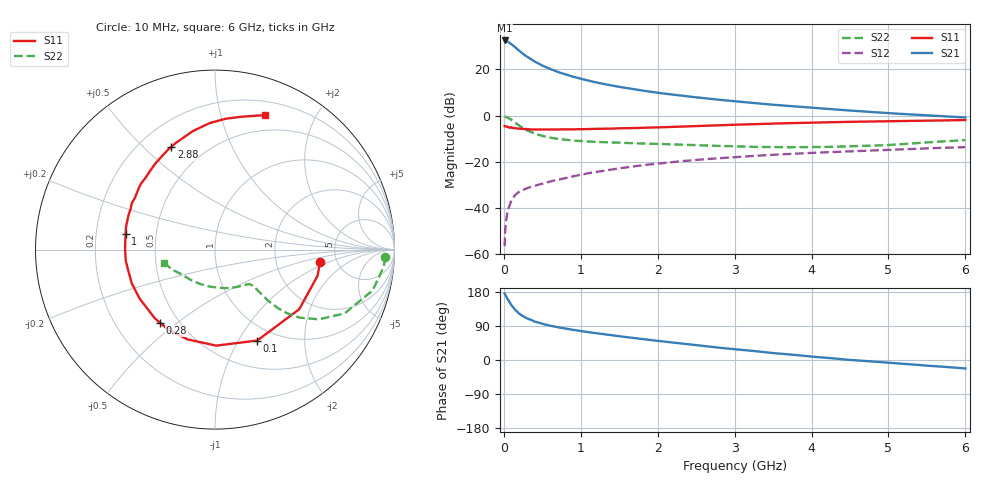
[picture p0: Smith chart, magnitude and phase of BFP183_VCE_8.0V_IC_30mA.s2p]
! Infineon Technologies  Discrete & RF Semiconductors
! BFP183
! VCE = 8.0 V,  IC =  30 mA
! Common Emitter S-Parameters:  Jan 2016
# GHz  S  MA  R  50
!  f  S11  S21  S12  S22
! GHz  MAG  ANG  MAG  ANG  MAG  ANG  MAG  ANG
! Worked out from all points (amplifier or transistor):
!   210 points, 10 MHz to 6 GHz, reference 50 ohm
!   highest |S21| = 32.5 dB at 10 MHz (marker M1)
!   |S21| within 3 dB of that: start of sweep to 150.1 MHz
!   unconditionally stable (mu >= 1): 772.3 MHz to 5.775 GHz
!   at 185 MHz: K = 0.42, MSG = 30.9 dB, |S12| = -33.3 dB
!   at 1.52 GHz: K = 1.14, MAG = 15.3 dB, |S12| = -22.7 dB
!   at 6 GHz: K = 0.97, MSG = 6.4 dB, |S12| = -13.7 dB
!   S11 on the Smith chart (normalised r, x): 10 MHz: 3.70, -0.79; 100 MHz: 0.82, -1.20; 280 MHz: 0.40, -0.44; 1 GHz: 0.33, +0.08; 2.88 GHz: 0.33, +0.61; 6 GHz: 0.33, +1.39
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0.01  0.59 -6.8  41.95 175.2  0.0015 77.5  0.9502 -2.6
0.02  0.5896 -14.4  41.73 171.8  0.0037 78.7  0.9448 -5.8
0.05  0.5751 -35.3  40.03 160.3  0.0085 77.2  0.9074 -14.5
0.1  0.5585 -65.1  34.83 144.1  0.0148 63.6  0.8052 -26.2
0.15  0.535 -89.3  29.7 131.5  0.0194 57.1  0.6963 -33.9
0.2  0.5231 -106.9  25.24 122.2  0.0226 54.1  0.6053 -38.8
0.24  0.5154 -117.8  22.27 116.8  0.0242 51.7  0.549 -40.9
0.28  0.5098 -126.9  19.87 112.2  0.0259 50.9  0.5022 -42.3
0.3  0.5089 -131.2  18.78 109.9  0.0268 50.8  0.4803 -42.9
0.4  0.5008 -147.0  14.72 101.5  0.0302 50.9  0.4066 -43.9
0.5  0.5006 -157.9  11.99 95.5  0.0337 50.6  0.3617 -43.9
0.6  0.4977 -166.5  10.2 90.6  0.0376 51.8  0.3328 -43.7
0.7  0.501 -173.3  8.742 86.5  0.0408 53.1  0.3124 -43.5
1  0.5052 170.2  6.213 76.4  0.0523 54.6  0.2797 -44.3
1.02  0.5062 169.3  6.105 75.8  0.0532 54.6  0.2785 -44.4
1.5  0.5308 151.0  4.169 62.6  0.0721 53.4  0.2581 -49.3
2.02  0.5559 134.4  3.071 50.1  0.0922 49.9  0.2435 -58.2
2.88  0.6223 113.0  2.126 30.8  0.1225 42.3  0.2183 -78.7
3.1  0.6389 108.3  1.964 26.6  0.1295 40.3  0.2126 -84.9
4.1  0.7103 90.9  1.435 7.4  0.1584 31.1  0.209 -116.6
5.1  0.7565 78.2  1.101 -8.6  0.1828 23.4  0.2361 -145.5
6  0.7996 69.6  0.908 -22.2  0.2072 15.2  0.2946 -165.6
